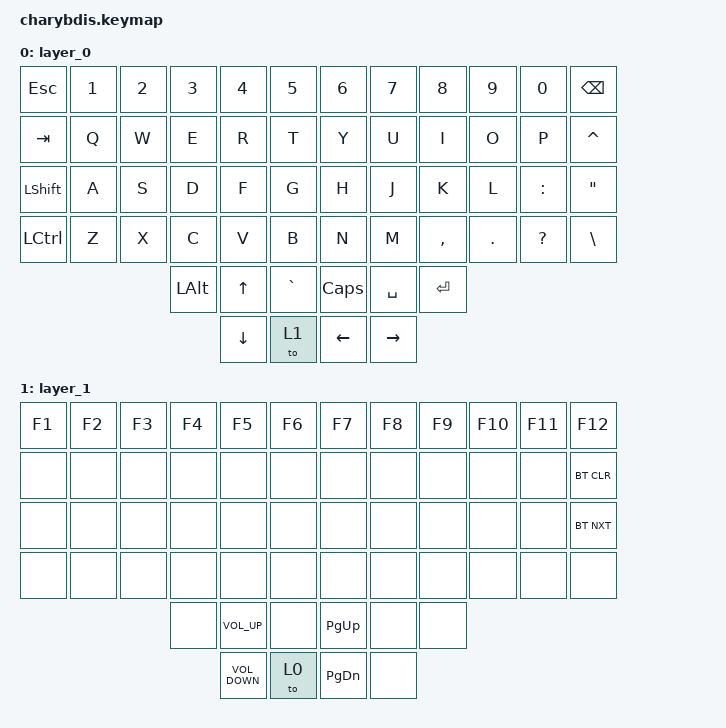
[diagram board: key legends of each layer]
#include <behaviors.dtsi>
#include <dt-bindings/zmk/bt.h>
#include <dt-bindings/zmk/keys.h>

&lt {
    tapping-term-ms = <200>;
    flavor = "balanced";
    quick-tap-ms = <150>;
};

/ {
    keymap {
        compatible = "zmk,keymap";

        layer_0 {
            bindings = <
&kp ESC         &kp NUMBER_1  &kp NUMBER_2  &kp NUMBER_3  &kp N4        &kp N5       &kp N6    &kp N7     &kp N8     &kp N9   &kp N0     &kp BACKSPACE
&kp TAB         &kp Q         &kp W         &kp E         &kp R         &kp T        &kp Y     &kp U      &kp I      &kp O    &kp P      &kp CARET
&kp LEFT_SHIFT  &kp A         &kp S         &kp D         &kp F         &kp G        &kp H     &kp J      &kp K      &kp L    &kp COLON  &kp DQT
&kp LCTRL       &kp Z         &kp X         &kp C         &kp V         &kp B        &kp N     &kp M      &kp COMMA  &kp DOT  &kp QMARK  &kp BSLH
                                            &kp LEFT_ALT  &kp UP_ARROW  &kp GRAVE    &kp CAPS  &kp SPACE  &kp ENTER
                                                          &kp DOWN      &to 1        &kp LEFT  &kp RIGHT
            >;

            trackball-bindings = <&tmv_coarse>;
        };

        layer_1 {
            bindings = <
&kp F1  &kp F2  &kp F3  &kp F4  &kp F5             &kp F6    &kp F7         &kp F8  &kp F9  &kp F10  &kp F11  &kp F12
&none   &none   &none   &none   &none              &none     &none          &none   &none   &none    &none    &bt BT_CLR
&none   &none   &none   &none   &none              &none     &none          &none   &none   &none    &none    &bt BT_NXT
&none   &none   &none   &none   &none              &none     &none          &none   &none   &none    &none    &none
                        &none   &kp C_VOLUME_UP    &none     &kp PAGE_UP    &none   &none
                                &kp C_VOLUME_DOWN  &to 0     &kp PAGE_DOWN  &none
            >;
        };

        /*layer_2 {
            bindings = <
&none  &none   &none    &none   &none         &none         &none         &none         &none     &none  &none   &kp F11
&none  &none   &none    &none   &none         &none         &none         &none         &none     &none  &none   &none
&none  &none   &none    &none   &none         &none         &none         &mkp LCLK     &mkp RCLK  &none  &none   &none
&none  &none   &none    &none   &bt BT_NXT  &bt BT_CLR    &none         &none         &none     &none  &none   &none
                                   &none         &none         &none         &none         &none
                                                 &none         &none         &none
            >;

            
        };*/
        /* Mouse {
            bindings = <
&none        &none         &none         &none         &none      &none         &none       &none      &none         &none         &none         &none
&none        &bt BT_SEL 0  &bt BT_SEL 1  &bt BT_SEL 3  &none      &bt BT_CLR    &bt BT_CLR  &none      &bt BT_SEL 2  &bt BT_SEL 1  &bt BT_SEL 0  &none
&none        &trans        &trans        &mkp MCLK     &trans     &none         &none       &trans     &mkp MCLK     &trans        &trans        &none
&bootloader  &trans        &mkp RCLK     &mo 4         &mkp LCLK  &mo 5         &mo 5       &mkp LCLK  &mo 4         &mkp RCLK     &trans        &bootloader
                                         &mo 5         &mkp LCLK  &mkp RCLK     &mkp RCLK   &mkp LCLK
                                                       &none      &trans        &trans
            >;

            
        };

        layer_4 {
            bindings = <
&trans  &trans  &trans     &trans     &trans     &trans       &trans     &trans     &trans     &trans     &trans  &trans
&trans  &trans  &trans     &trans     &trans     &trans       &trans     &trans     &trans     &trans     &trans  &trans
&trans  &trans  &trans     &mkp MCLK  &trans     &trans       &trans     &trans     &mkp MCLK  &trans     &trans  &trans
&trans  &trans  &mkp RCLK  &trans     &mkp LCLK  &trans       &trans     &mkp LCLK  &trans     &mkp RCLK  &trans  &trans
                           &trans     &mkp LCLK  &mkp RCLK    &mkp RCLK  &mkp LCLK
                                      &trans     &trans       &trans
            >;
                
                
                trackball-bindings = <&tsl>;
        };

        layer_5 {
            bindings = <
&trans  &trans  &trans     &trans     &trans     &trans       &trans     &trans     &trans     &trans     &trans  &trans
&trans  &trans  &trans     &trans     &trans     &trans       &trans     &trans     &trans     &trans     &trans  &trans
&trans  &trans  &trans     &mkp MCLK  &trans     &trans       &trans     &trans     &mkp MCLK  &trans     &trans  &trans
&trans  &trans  &mkp RCLK  &trans     &mkp LCLK  &trans       &trans     &mkp LCLK  &trans     &mkp RCLK  &trans  &trans
                           &trans     &mkp LCLK  &mkp RCLK    &mkp RCLK  &mkp LCLK
                                      &trans     &trans       &trans
            >;
                trackball-bindings = <&tmv_fine>;
                
        };*/
    };
};
